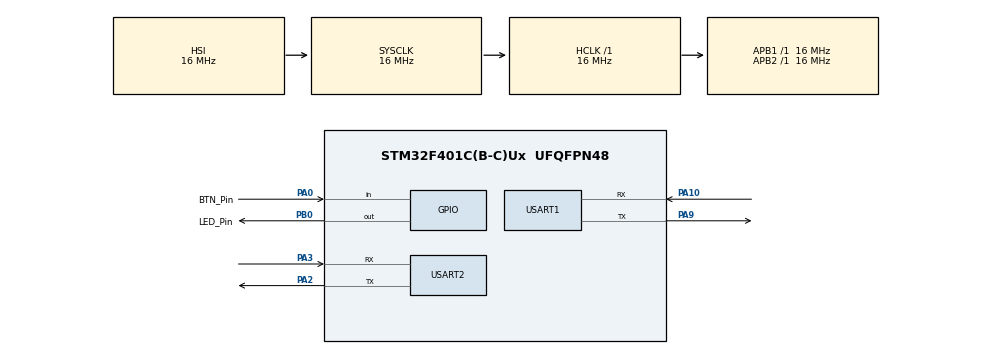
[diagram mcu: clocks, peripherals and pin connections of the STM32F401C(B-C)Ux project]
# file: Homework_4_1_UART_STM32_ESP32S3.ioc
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Mcu.Family=STM32F4
Mcu.Name=STM32F401C(B-C)Ux
Mcu.Package=UFQFPN48
NVIC.PriorityGroup=NVIC_PRIORITYGROUP_4
NVIC.USART1_IRQn=true\:0\:0\:false\:false\:true\:true\:true\:true
NVIC.USART2_IRQn=true\:0\:0\:false\:false\:true\:true\:true\:true
PA0-WKUP.GPIO_Label=BTN_Pin
PA0-WKUP.Signal=GPIO_Input
PA10.Mode=Asynchronous
PA10.Signal=USART1_RX
PA2.Mode=Asynchronous
PA2.Signal=USART2_TX
PA3.Mode=Asynchronous
PA3.Signal=USART2_RX
PA9.Mode=Asynchronous
PA9.Signal=USART1_TX
PB0.GPIO_Label=LED_Pin
PB0.Signal=GPIO_Output
PH0\ -\ OSC_IN.Mode=HSE-External-Oscillator
PH0\ -\ OSC_IN.Signal=RCC_OSC_IN
PH1\ -\ OSC_OUT.Mode=HSE-External-Oscillator
PH1\ -\ OSC_OUT.Signal=RCC_OSC_OUT
ProjectManager.HeapSize=0x200
ProjectManager.StackSize=0x400
ProjectManager.TargetToolchain=STM32CubeIDE
RCC.AHBFreq_Value=16000000
RCC.APB1Freq_Value=16000000
RCC.APB2Freq_Value=16000000
RCC.CortexFreq_Value=16000000
RCC.HSE_VALUE=25000000
RCC.HSI_VALUE=16000000
RCC.LSE_VALUE=32768
RCC.SYSCLKFreq_VALUE=16000000
RCC.VCOOutputFreq_Value=192000000
USART1.VirtualMode=VM_ASYNC
USART2.VirtualMode=VM_ASYNC
board=custom

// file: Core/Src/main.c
/* USER CODE BEGIN Header */
/**
  ******************************************************************************
  * @file           : main.c
  * @brief          : Main program body
  ******************************************************************************
  * @attention
  *
  * Copyright (c) 2026 STMicroelectronics.
  * All rights reserved.
  *
  * This software is licensed under terms that can be found in the LICENSE file
  * in the root directory of this software component.
  * If no LICENSE file comes with this software, it is provided AS-IS.
  *
  ******************************************************************************
  */
/* USER CODE END Header */
#include "main.h"

UART_HandleTypeDef huart1;
UART_HandleTypeDef huart2;

/* USER CODE BEGIN PV */
uint8_t rx_data;              // Single byte buffer for receiving UART data
uint8_t led_state = 0;        // Keeps track of local LED toggle state
uint8_t btn_previous = 1;

uint32_t last_debounce_time = 0;
const uint32_t debounce_delay = 50;
/* USER CODE END PV */

void SystemClock_Config(void);
static void MX_GPIO_Init(void);
static void MX_USART1_UART_Init(void);
static void MX_USART2_UART_Init(void);

int main(void)
{

  /* MCU Configuration--------------------------------------------------------*/

  /* Reset of all peripherals, Initializes the Flash interface and the Systick. */
  HAL_Init();

  /* Configure the system clock */
  SystemClock_Config();

  /* Initialize all configured peripherals */
  MX_GPIO_Init();
  MX_USART1_UART_Init();
  MX_USART2_UART_Init();
  /* USER CODE BEGIN 2 */
  HAL_UART_Receive_IT(&huart2, &rx_data, 1);
  /* USER CODE END 2 */

  /* Infinite loop */
  /* USER CODE BEGIN WHILE */
 	  while (1)
	  {
	    uint8_t btn_current = HAL_GPIO_ReadPin(BTN_Pin_GPIO_Port, BTN_Pin_Pin);

	    // Reset timer on pin change
	    if (btn_current != btn_previous)
	    {
	      last_debounce_time = HAL_GetTick();
	    }

	    // Check if state is stable
	    if ((HAL_GetTick() - last_debounce_time) > debounce_delay)
	    {
	      static uint8_t btn_stable_state = 1;

	      if (btn_current != btn_stable_state)
	      {
	        btn_stable_state = btn_current;

	        // Button pressed (Active-Low falling edge)
	        if (btn_stable_state == 0)
	        {
	          led_state = !led_state;

	          // Create a byte variable containing raw hex state
	          uint8_t tx_data = led_state ? 0x01 : 0x00;

	          // Send raw hex byte (0x01 or 0x00) over UART
	          HAL_UART_Transmit(&huart2, &tx_data, 1, HAL_MAX_DELAY);
	        }
	      }
	    }

	    btn_previous = btn_current;
	    /* USER CODE END WHILE */
  }
}

void SystemClock_Config(void)
{
  RCC_OscInitTypeDef RCC_OscInitStruct = {0};
  RCC_ClkInitTypeDef RCC_ClkInitStruct = {0};

  /** Configure the main internal regulator output voltage
  */
  __HAL_RCC_PWR_CLK_ENABLE();
  __HAL_PWR_VOLTAGESCALING_CONFIG(PWR_REGULATOR_VOLTAGE_SCALE2);

  /** Initializes the RCC Oscillators according to the specified parameters
  * in the RCC_OscInitTypeDef structure.
  */
  RCC_OscInitStruct.OscillatorType = RCC_OSCILLATORTYPE_HSI;
  RCC_OscInitStruct.HSIState = RCC_HSI_ON;
  RCC_OscInitStruct.HSICalibrationValue = RCC_HSICALIBRATION_DEFAULT;
  RCC_OscInitStruct.PLL.PLLState = RCC_PLL_NONE;
  if (HAL_RCC_OscConfig(&RCC_OscInitStruct) != HAL_OK)
  {
    Error_Handler();
  }

  /** Initializes the CPU, AHB and APB buses clocks
  */
  RCC_ClkInitStruct.ClockType = RCC_CLOCKTYPE_HCLK|RCC_CLOCKTYPE_SYSCLK
                              |RCC_CLOCKTYPE_PCLK1|RCC_CLOCKTYPE_PCLK2;
  RCC_ClkInitStruct.SYSCLKSource = RCC_SYSCLKSOURCE_HSI;
  RCC_ClkInitStruct.AHBCLKDivider = RCC_SYSCLK_DIV1;
  RCC_ClkInitStruct.APB1CLKDivider = RCC_HCLK_DIV1;
  RCC_ClkInitStruct.APB2CLKDivider = RCC_HCLK_DIV1;

  if (HAL_RCC_ClockConfig(&RCC_ClkInitStruct, FLASH_LATENCY_0) != HAL_OK)
  {
    Error_Handler();
  }
}

static void MX_USART1_UART_Init(void)
{

  huart1.Instance = USART1;
  huart1.Init.BaudRate = 115200;
  huart1.Init.WordLength = UART_WORDLENGTH_8B;
  huart1.Init.StopBits = UART_STOPBITS_1;
  huart1.Init.Parity = UART_PARITY_NONE;
  huart1.Init.Mode = UART_MODE_TX_RX;
  huart1.Init.HwFlowCtl = UART_HWCONTROL_NONE;
  huart1.Init.OverSampling = UART_OVERSAMPLING_16;
  if (HAL_UART_Init(&huart1) != HAL_OK)
  {
    Error_Handler();
  }

}

static void MX_USART2_UART_Init(void)
{

  huart2.Instance = USART2;
  huart2.Init.BaudRate = 115200;
  huart2.Init.WordLength = UART_WORDLENGTH_8B;
  huart2.Init.StopBits = UART_STOPBITS_1;
  huart2.Init.Parity = UART_PARITY_NONE;
  huart2.Init.Mode = UART_MODE_TX_RX;
  huart2.Init.HwFlowCtl = UART_HWCONTROL_NONE;
  huart2.Init.OverSampling = UART_OVERSAMPLING_16;
  if (HAL_UART_Init(&huart2) != HAL_OK)
  {
    Error_Handler();
  }

}

static void MX_GPIO_Init(void)
{
  GPIO_InitTypeDef GPIO_InitStruct = {0};

  /* GPIO Ports Clock Enable */
  __HAL_RCC_GPIOH_CLK_ENABLE();
  __HAL_RCC_GPIOA_CLK_ENABLE();
  __HAL_RCC_GPIOB_CLK_ENABLE();

  /*Configure GPIO pin Output Level */
  HAL_GPIO_WritePin(LED_Pin_GPIO_Port, LED_Pin_Pin, GPIO_PIN_RESET);

  /*Configure GPIO pin : BTN_Pin_Pin */
  GPIO_InitStruct.Pin = BTN_Pin_Pin;
  GPIO_InitStruct.Mode = GPIO_MODE_INPUT;
  GPIO_InitStruct.Pull = GPIO_NOPULL;
  HAL_GPIO_Init(BTN_Pin_GPIO_Port, &GPIO_InitStruct);

  /*Configure GPIO pin : LED_Pin_Pin */
  GPIO_InitStruct.Pin = LED_Pin_Pin;
  GPIO_InitStruct.Mode = GPIO_MODE_OUTPUT_PP;
  GPIO_InitStruct.Pull = GPIO_NOPULL;
  GPIO_InitStruct.Speed = GPIO_SPEED_FREQ_LOW;
  HAL_GPIO_Init(LED_Pin_GPIO_Port, &GPIO_InitStruct);

}

/* USER CODE BEGIN 4 */

void HAL_UART_RxCpltCallback(UART_HandleTypeDef *huart)
{
	if (huart->Instance == USART2)
	  {
	    // Check for raw byte values 0x01 and 0x00
	    if (rx_data == 0x01)
	    {
	      HAL_GPIO_WritePin(LED_Pin_GPIO_Port, LED_Pin_Pin, GPIO_PIN_SET);   // LED ON
	    }
	    else if (rx_data == 0x00)
	    {
	      HAL_GPIO_WritePin(LED_Pin_GPIO_Port, LED_Pin_Pin, GPIO_PIN_RESET); // LED OFF
	    }

	    // Re-arm UART receive interrupt for the next byte
	    HAL_UART_Receive_IT(&huart2, &rx_data, 1);
	  }
}

/* USER CODE END 4 */

void Error_Handler(void)
{
  __disable_irq();
  while (1)
  {
  }
}
